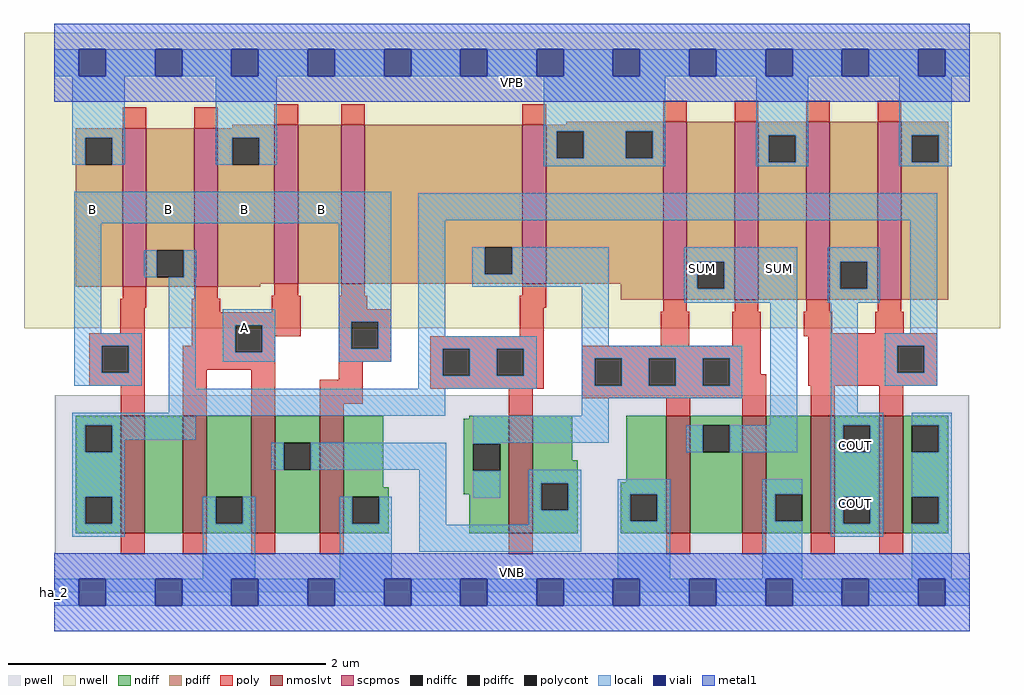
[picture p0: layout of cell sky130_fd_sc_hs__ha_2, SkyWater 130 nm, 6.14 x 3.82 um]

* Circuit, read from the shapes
.subckt sky130_fd_sc_hs__ha_2 A B VGND VNB VPB VPWR COUT SUM
XM1 n1 B n2 VNB sky130_fd_pr__nfet_01v8_lvt w=0.74 l=0.15
XM2 VGND A n1 VNB sky130_fd_pr__nfet_01v8_lvt w=0.74 l=0.15
XM3 n3 A VGND VNB sky130_fd_pr__nfet_01v8_lvt w=0.74 l=0.15
XM4 VGND B n3 VNB sky130_fd_pr__nfet_01v8_lvt w=0.74 l=0.15
XM5 n3 n2 n4 VNB sky130_fd_pr__nfet_01v8_lvt w=0.74 l=0.15
XM6 SUM n4 VGND VNB sky130_fd_pr__nfet_01v8_lvt w=0.74 l=0.15 m=2
XM7 COUT n2 VGND VNB sky130_fd_pr__nfet_01v8_lvt w=0.74 l=0.15 m=2
XM8 n2 B VPWR VPB sky130_fd_pr__pfet_01v8 w=1 l=0.15
XM9 VPWR A n2 VPB sky130_fd_pr__pfet_01v8 w=1 l=0.15
XM10 n5 A VPWR VPB sky130_fd_pr__pfet_01v8 w=1 l=0.15
XM11 n4 B n5 VPB sky130_fd_pr__pfet_01v8 w=1 l=0.15
XM12 VPWR n2 n4 VPB sky130_fd_pr__pfet_01v8 w=1 l=0.15
XM13 SUM n4 VPWR VPB sky130_fd_pr__pfet_01v8 w=1.12 l=0.15 m=2
XM14 COUT n2 VPWR VPB sky130_fd_pr__pfet_01v8 w=1.12 l=0.15 m=2
.ends

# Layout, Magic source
magic
tech sky130A
magscale 1 2
<< nwell >>
rect -38 332 1190 704
<< pwell >>
rect 1 49 1151 248
rect 0 0 1152 49
<< scpmos >>
rect 86 384 116 584
rect 176 384 206 584
rect 277 388 307 588
rect 361 388 391 588
rect 589 388 619 588
rect 766 368 796 592
rect 856 368 886 592
rect 946 368 976 592
rect 1036 368 1066 592
<< nmoslvt >>
rect 84 74 114 222
rect 162 74 192 222
rect 248 74 278 222
rect 334 74 364 222
rect 572 74 602 222
rect 770 74 800 222
rect 866 74 896 222
rect 952 74 982 222
rect 1038 74 1068 222
<< ndiff >>
rect 27 210 84 222
rect 27 176 39 210
rect 73 176 84 210
rect 27 120 84 176
rect 27 86 39 120
rect 73 86 84 120
rect 27 74 84 86
rect 114 74 162 222
rect 192 120 248 222
rect 192 86 203 120
rect 237 86 248 120
rect 192 74 248 86
rect 278 188 334 222
rect 278 154 289 188
rect 323 154 334 188
rect 278 74 334 154
rect 364 132 414 222
rect 522 218 572 222
rect 515 187 572 218
rect 515 153 527 187
rect 561 153 572 187
rect 364 120 421 132
rect 515 123 572 153
rect 364 86 375 120
rect 409 86 421 120
rect 364 74 421 86
rect 522 74 572 123
rect 602 166 652 222
rect 602 137 659 166
rect 720 138 770 222
rect 602 103 613 137
rect 647 103 659 137
rect 602 74 659 103
rect 713 123 770 138
rect 713 89 725 123
rect 759 89 770 123
rect 713 74 770 89
rect 800 210 866 222
rect 800 176 816 210
rect 850 176 866 210
rect 800 74 866 176
rect 896 123 952 222
rect 896 89 907 123
rect 941 89 952 123
rect 896 74 952 89
rect 982 210 1038 222
rect 982 176 993 210
rect 1027 176 1038 210
rect 982 120 1038 176
rect 982 86 993 120
rect 1027 86 1038 120
rect 982 74 1038 86
rect 1068 210 1125 222
rect 1068 176 1079 210
rect 1113 176 1125 210
rect 1068 120 1125 176
rect 1068 86 1079 120
rect 1113 86 1125 120
rect 1068 74 1125 86
<< pdiff >>
rect 644 588 766 592
rect 224 584 277 588
rect 27 572 86 584
rect 27 538 39 572
rect 73 538 86 572
rect 27 384 86 538
rect 116 430 176 584
rect 116 396 129 430
rect 163 396 176 430
rect 116 384 176 396
rect 206 572 277 584
rect 206 538 224 572
rect 258 538 277 572
rect 206 388 277 538
rect 307 388 361 588
rect 391 434 589 588
rect 391 400 542 434
rect 576 400 589 434
rect 391 388 589 400
rect 619 580 766 588
rect 619 546 632 580
rect 666 546 719 580
rect 753 546 766 580
rect 619 388 766 546
rect 206 384 259 388
rect 713 368 766 388
rect 796 416 856 592
rect 796 382 809 416
rect 843 382 856 416
rect 796 368 856 382
rect 886 575 946 592
rect 886 541 899 575
rect 933 541 946 575
rect 886 368 946 541
rect 976 416 1036 592
rect 976 382 989 416
rect 1023 382 1036 416
rect 976 368 1036 382
rect 1066 575 1125 592
rect 1066 541 1079 575
rect 1113 541 1125 575
rect 1066 368 1125 541
<< ndiffc >>
rect 39 176 73 210
rect 39 86 73 120
rect 203 86 237 120
rect 289 154 323 188
rect 527 153 561 187
rect 375 86 409 120
rect 613 103 647 137
rect 725 89 759 123
rect 816 176 850 210
rect 907 89 941 123
rect 993 176 1027 210
rect 993 86 1027 120
rect 1079 176 1113 210
rect 1079 86 1113 120
<< pdiffc >>
rect 39 538 73 572
rect 129 396 163 430
rect 224 538 258 572
rect 542 400 576 434
rect 632 546 666 580
rect 719 546 753 580
rect 809 382 843 416
rect 899 541 933 575
rect 989 382 1023 416
rect 1079 541 1113 575
<< poly >>
rect 86 584 116 610
rect 176 584 206 610
rect 277 588 307 614
rect 361 588 391 614
rect 589 588 619 614
rect 766 592 796 618
rect 856 592 886 618
rect 946 592 976 618
rect 1036 592 1066 618
rect 86 369 116 384
rect 176 369 206 384
rect 277 373 307 388
rect 361 373 391 388
rect 589 373 619 388
rect 83 358 116 369
rect 83 326 114 358
rect 44 310 114 326
rect 173 352 209 369
rect 274 352 310 373
rect 173 336 310 352
rect 173 310 228 336
rect 44 276 60 310
rect 94 276 114 310
rect 44 260 114 276
rect 84 222 114 260
rect 162 302 228 310
rect 262 322 310 336
rect 358 356 394 373
rect 586 358 619 373
rect 358 340 424 356
rect 262 302 278 322
rect 162 280 278 302
rect 162 222 192 280
rect 248 222 278 280
rect 358 306 374 340
rect 408 306 424 340
rect 586 322 616 358
rect 766 353 796 368
rect 856 353 886 368
rect 946 353 976 368
rect 1036 353 1066 368
rect 358 290 424 306
rect 473 306 616 322
rect 763 310 799 353
rect 853 310 889 353
rect 943 326 979 353
rect 1033 326 1069 353
rect 943 322 1111 326
rect 358 267 388 290
rect 334 237 388 267
rect 473 272 489 306
rect 523 272 557 306
rect 591 272 616 306
rect 473 256 616 272
rect 664 294 889 310
rect 664 260 680 294
rect 714 260 748 294
rect 782 260 816 294
rect 850 274 889 294
rect 949 310 1111 322
rect 949 276 1061 310
rect 1095 276 1111 310
rect 850 260 896 274
rect 949 260 1111 276
rect 334 222 364 237
rect 572 222 602 256
rect 664 244 896 260
rect 770 222 800 244
rect 866 222 896 244
rect 952 222 982 260
rect 1038 222 1068 260
rect 84 48 114 74
rect 162 48 192 74
rect 248 48 278 74
rect 334 48 364 74
rect 572 48 602 74
rect 770 48 800 74
rect 866 48 896 74
rect 952 48 982 74
rect 1038 48 1068 74
<< polycont >>
rect 60 276 94 310
rect 228 302 262 336
rect 374 306 408 340
rect 489 272 523 306
rect 557 272 591 306
rect 680 260 714 294
rect 748 260 782 294
rect 816 260 850 294
rect 1061 276 1095 310
<< locali >>
rect 0 649 31 683
rect 65 649 127 683
rect 161 649 223 683
rect 257 649 319 683
rect 353 649 415 683
rect 449 649 511 683
rect 545 649 607 683
rect 641 649 703 683
rect 737 649 799 683
rect 833 649 895 683
rect 929 649 991 683
rect 1025 649 1087 683
rect 1121 649 1152 683
rect 23 572 89 649
rect 23 538 39 572
rect 73 538 89 572
rect 203 572 280 649
rect 203 538 224 572
rect 258 538 280 572
rect 616 580 769 649
rect 616 546 632 580
rect 666 546 719 580
rect 753 546 769 580
rect 616 536 769 546
rect 883 575 949 649
rect 883 541 899 575
rect 933 541 949 575
rect 883 536 949 541
rect 1063 575 1129 649
rect 1063 541 1079 575
rect 1113 541 1129 575
rect 1063 536 1129 541
rect 25 464 424 504
rect 25 326 59 464
rect 113 396 129 430
rect 163 396 179 430
rect 25 310 110 326
rect 25 276 60 310
rect 94 276 110 310
rect 25 260 110 276
rect 144 256 178 396
rect 212 336 278 356
rect 212 302 228 336
rect 262 302 278 336
rect 212 290 278 302
rect 358 340 424 464
rect 358 306 374 340
rect 408 306 424 340
rect 358 290 424 306
rect 458 468 1111 502
rect 458 322 492 468
rect 526 400 542 434
rect 576 400 698 434
rect 526 384 698 400
rect 458 306 607 322
rect 458 272 489 306
rect 523 272 557 306
rect 591 272 607 306
rect 458 256 607 272
rect 664 310 698 384
rect 793 416 935 434
rect 793 382 809 416
rect 843 382 935 416
rect 793 364 935 382
rect 973 416 1039 434
rect 973 382 989 416
rect 1023 382 1039 416
rect 973 364 1039 382
rect 664 294 866 310
rect 664 260 680 294
rect 714 260 748 294
rect 782 260 816 294
rect 850 260 866 294
rect 144 226 492 256
rect 23 222 492 226
rect 664 244 866 260
rect 664 222 698 244
rect 23 210 178 222
rect 23 176 39 210
rect 73 192 178 210
rect 73 176 89 192
rect 527 188 698 222
rect 901 210 935 364
rect 23 120 89 176
rect 273 154 289 188
rect 323 154 493 188
rect 23 86 39 120
rect 73 86 89 120
rect 23 70 89 86
rect 187 86 203 120
rect 237 86 253 120
rect 187 17 253 86
rect 359 86 375 120
rect 409 86 425 120
rect 359 17 425 86
rect 459 85 493 154
rect 527 187 561 188
rect 795 176 816 210
rect 850 176 935 210
rect 977 226 1011 364
rect 1077 326 1111 468
rect 1045 310 1111 326
rect 1045 276 1061 310
rect 1095 276 1111 310
rect 1045 260 1111 276
rect 977 210 1043 226
rect 977 176 993 210
rect 1027 176 1043 210
rect 527 119 561 153
rect 597 137 663 154
rect 597 103 613 137
rect 647 103 663 137
rect 597 85 663 103
rect 459 51 663 85
rect 709 123 775 142
rect 709 89 725 123
rect 759 89 775 123
rect 709 17 775 89
rect 891 123 941 142
rect 891 89 907 123
rect 891 17 941 89
rect 977 120 1043 176
rect 977 86 993 120
rect 1027 86 1043 120
rect 977 70 1043 86
rect 1079 210 1129 226
rect 1113 176 1129 210
rect 1079 120 1129 176
rect 1113 86 1129 120
rect 1079 17 1129 86
rect 0 -17 31 17
rect 65 -17 127 17
rect 161 -17 223 17
rect 257 -17 319 17
rect 353 -17 415 17
rect 449 -17 511 17
rect 545 -17 607 17
rect 641 -17 703 17
rect 737 -17 799 17
rect 833 -17 895 17
rect 929 -17 991 17
rect 1025 -17 1087 17
rect 1121 -17 1152 17
<< viali >>
rect 31 649 65 683
rect 127 649 161 683
rect 223 649 257 683
rect 319 649 353 683
rect 415 649 449 683
rect 511 649 545 683
rect 607 649 641 683
rect 703 649 737 683
rect 799 649 833 683
rect 895 649 929 683
rect 991 649 1025 683
rect 1087 649 1121 683
rect 31 -17 65 17
rect 127 -17 161 17
rect 223 -17 257 17
rect 319 -17 353 17
rect 415 -17 449 17
rect 511 -17 545 17
rect 607 -17 641 17
rect 703 -17 737 17
rect 799 -17 833 17
rect 895 -17 929 17
rect 991 -17 1025 17
rect 1087 -17 1121 17
<< metal1 >>
rect 0 683 1152 715
rect 0 649 31 683
rect 65 649 127 683
rect 161 649 223 683
rect 257 649 319 683
rect 353 649 415 683
rect 449 649 511 683
rect 545 649 607 683
rect 641 649 703 683
rect 737 649 799 683
rect 833 649 895 683
rect 929 649 991 683
rect 1025 649 1087 683
rect 1121 649 1152 683
rect 0 617 1152 649
rect 0 17 1152 49
rect 0 -17 31 17
rect 65 -17 127 17
rect 161 -17 223 17
rect 257 -17 319 17
rect 353 -17 415 17
rect 449 -17 511 17
rect 545 -17 607 17
rect 641 -17 703 17
rect 737 -17 799 17
rect 833 -17 895 17
rect 929 -17 991 17
rect 1025 -17 1087 17
rect 1121 -17 1152 17
rect 0 -49 1152 -17
<< labels >>
rlabel comment s 0 0 0 0 4 ha_2
flabel pwell s 0 0 1152 49 0 FreeSans 200 0 0 0 VNB
port 4 nsew ground bidirectional
flabel nwell s 0 617 1152 666 0 FreeSans 200 0 0 0 VPB
port 5 nsew power bidirectional
flabel metal1 s 0 0 1152 49 0 FreeSans 340 0 0 0 VGND
port 3 nsew ground bidirectional
flabel metal1 s 0 617 1152 666 0 FreeSans 340 0 0 0 VPWR
port 6 nsew power bidirectional
flabel locali s 31 464 65 498 0 FreeSans 340 0 0 0 B
port 2 nsew signal input
flabel locali s 127 464 161 498 0 FreeSans 340 0 0 0 B
port 2 nsew signal input
flabel locali s 223 464 257 498 0 FreeSans 340 0 0 0 B
port 2 nsew signal input
flabel locali s 319 464 353 498 0 FreeSans 340 0 0 0 B
port 2 nsew signal input
flabel locali s 223 316 257 350 0 FreeSans 340 0 0 0 A
port 1 nsew signal input
flabel locali s 799 390 833 424 0 FreeSans 340 0 0 0 SUM
port 8 nsew signal output
flabel locali s 895 390 929 424 0 FreeSans 340 0 0 0 SUM
port 8 nsew signal output
flabel locali s 991 94 1025 128 0 FreeSans 340 0 0 0 COUT
port 7 nsew signal output
flabel locali s 991 168 1025 202 0 FreeSans 340 0 0 0 COUT
port 7 nsew signal output
<< properties >>
string LEFsite unit
string LEFclass CORE
string FIXED_BBOX 0 0 1152 666
string GDS_FILE $PDKPATH/libs.ref/sky130_fd_sc_hs/gds/sky130_fd_sc_hs.gds
string LEFsymmetry X Y
string GDS_END 3866520
string GDS_START 3857512
<< end >>
